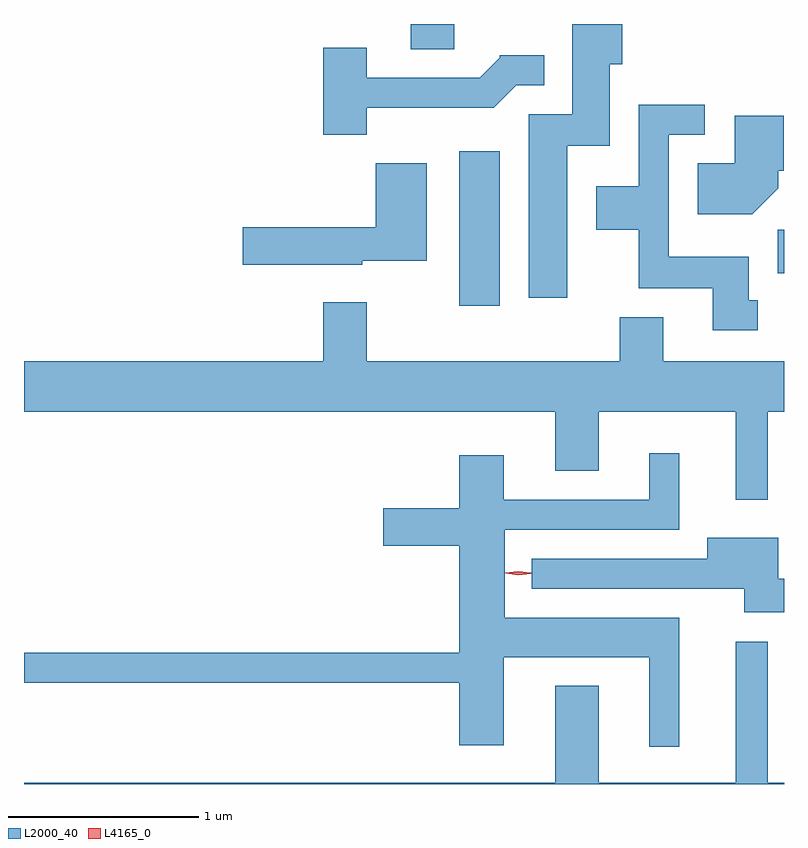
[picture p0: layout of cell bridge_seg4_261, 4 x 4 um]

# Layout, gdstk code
import gdstk
lib = gdstk.Library(unit=1e-6, precision=1e-09)
def R(c, l, rs):  # rectangles x0, y0, x1, y1
    for r in rs: c.add(gdstk.rectangle(r[:2], r[2:], *l))
def P(c, l, *ps):  # polygons
    for p in ps: c.add(gdstk.Polygon(p, *l))
L2000_40 = (2000, 40)
L4165_0 = (4165, 0)

bridge_seg4_261 = lib.new_cell('bridge_seg4_261')
R(bridge_seg4_261, L2000_40, [(664.476,1330.816,664.689,1331.629), (666.151,1330.986,666.185,1331.214), (664.221,1332.166,664.449,1332.298)])
P(bridge_seg4_261, L2000_40, [(665.044,1331.656),(665.269,1331.656),(665.269,1332.086),(665.334,1332.086),(665.334,1332.298),(665.071,1332.298),(665.071,1331.824),(664.841,1331.824),(664.841,1330.856),(665.044,1330.856)],
  [(663.989,1331.856),(664.657,1331.856),(664.777,1331.976),(664.923,1331.976),(664.923,1332.134),(664.69,1332.134),(664.69,1332.121),(664.584,1332.014),(663.989,1332.014),(663.989,1332.174),(663.761,1332.174),(663.761,1331.716),(663.989,1331.716)],
  [(666.048,1330.844),(665.999,1330.844),(665.999,1331.074),(665.579,1331.074),(665.579,1331.716),(665.768,1331.716),(665.768,1331.874),(665.421,1331.874),(665.421,1331.444),(665.196,1331.444),(665.196,1331.216),(665.421,1331.216),(665.421,1330.906),(665.811,1330.906),(665.811,1330.686),(666.048,1330.686)],
  [(666.154,1331.434),(666.154,1331.526),(666.184,1331.526),(666.184,1331.814),(665.926,1331.814),(665.926,1331.564),(665.731,1331.564),(665.731,1331.296),(666.017,1331.296)],
  [(663.964,1331.051),(664.304,1331.051),(664.304,1331.564),(664.036,1331.564),(664.036,1331.229),(663.336,1331.229),(663.336,1331.031),(663.964,1331.031)],
  [(666.099,1330.256),(666.185,1330.256),(666.185,1330.524),(665.549,1330.524),(665.549,1330.754),(665.321,1330.754),(665.321,1330.524),(663.989,1330.524),(663.989,1330.834),(663.761,1330.834),(663.761,1330.524),(662.185,1330.524),(662.185,1330.256),(664.981,1330.256),(664.981,1329.946),(665.209,1329.946),(665.209,1330.256),(665.931,1330.256),(665.931,1329.793),(666.099,1329.793)],
  [(665.634,1329.174),(664.714,1329.174),(664.714,1329.636),(665.634,1329.636),(665.634,1330.038),(665.476,1330.038),(665.476,1329.794),(664.709,1329.794),(664.709,1330.029),(664.476,1330.029),(664.476,1329.749),(664.076,1329.749),(664.076,1329.551),(664.476,1329.551),(664.476,1328.989),(662.185,1328.989),(662.185,1328.831),(664.476,1328.831),(664.476,1328.501),(664.709,1328.501),(664.709,1328.966),(665.476,1328.966),(665.476,1328.493),(665.634,1328.493)],
  [(666.185,1329.379),(666.154,1329.379),(666.154,1329.594),(665.781,1329.594),(665.781,1329.484),(664.858,1329.484),(664.858,1329.326),(665.976,1329.326),(665.976,1329.201),(666.185,1329.201)],
  [(666.185,1328.304),(666.099,1328.304),(666.099,1329.048),(665.931,1329.048),(665.931,1328.304),(665.209,1328.304),(665.209,1328.814),(664.981,1328.814),(664.981,1328.304),(662.185,1328.304),(662.185,1328.298),(666.185,1328.298)])
P(bridge_seg4_261, L4165_0, [(664.786,1329.399),(664.717,1329.409),(664.717,1329.41),(664.717,1329.41),(664.787,1329.419),(664.856,1329.409),(664.856,1329.408),(664.856,1329.408)],
  [(664.786,1329.396),(664.721,1329.406),(664.72,1329.406),(664.721,1329.407),(664.787,1329.416),(664.852,1329.406),(664.853,1329.406),(664.852,1329.405)])

lib.write_gds('bridge_seg4_261.gds')
